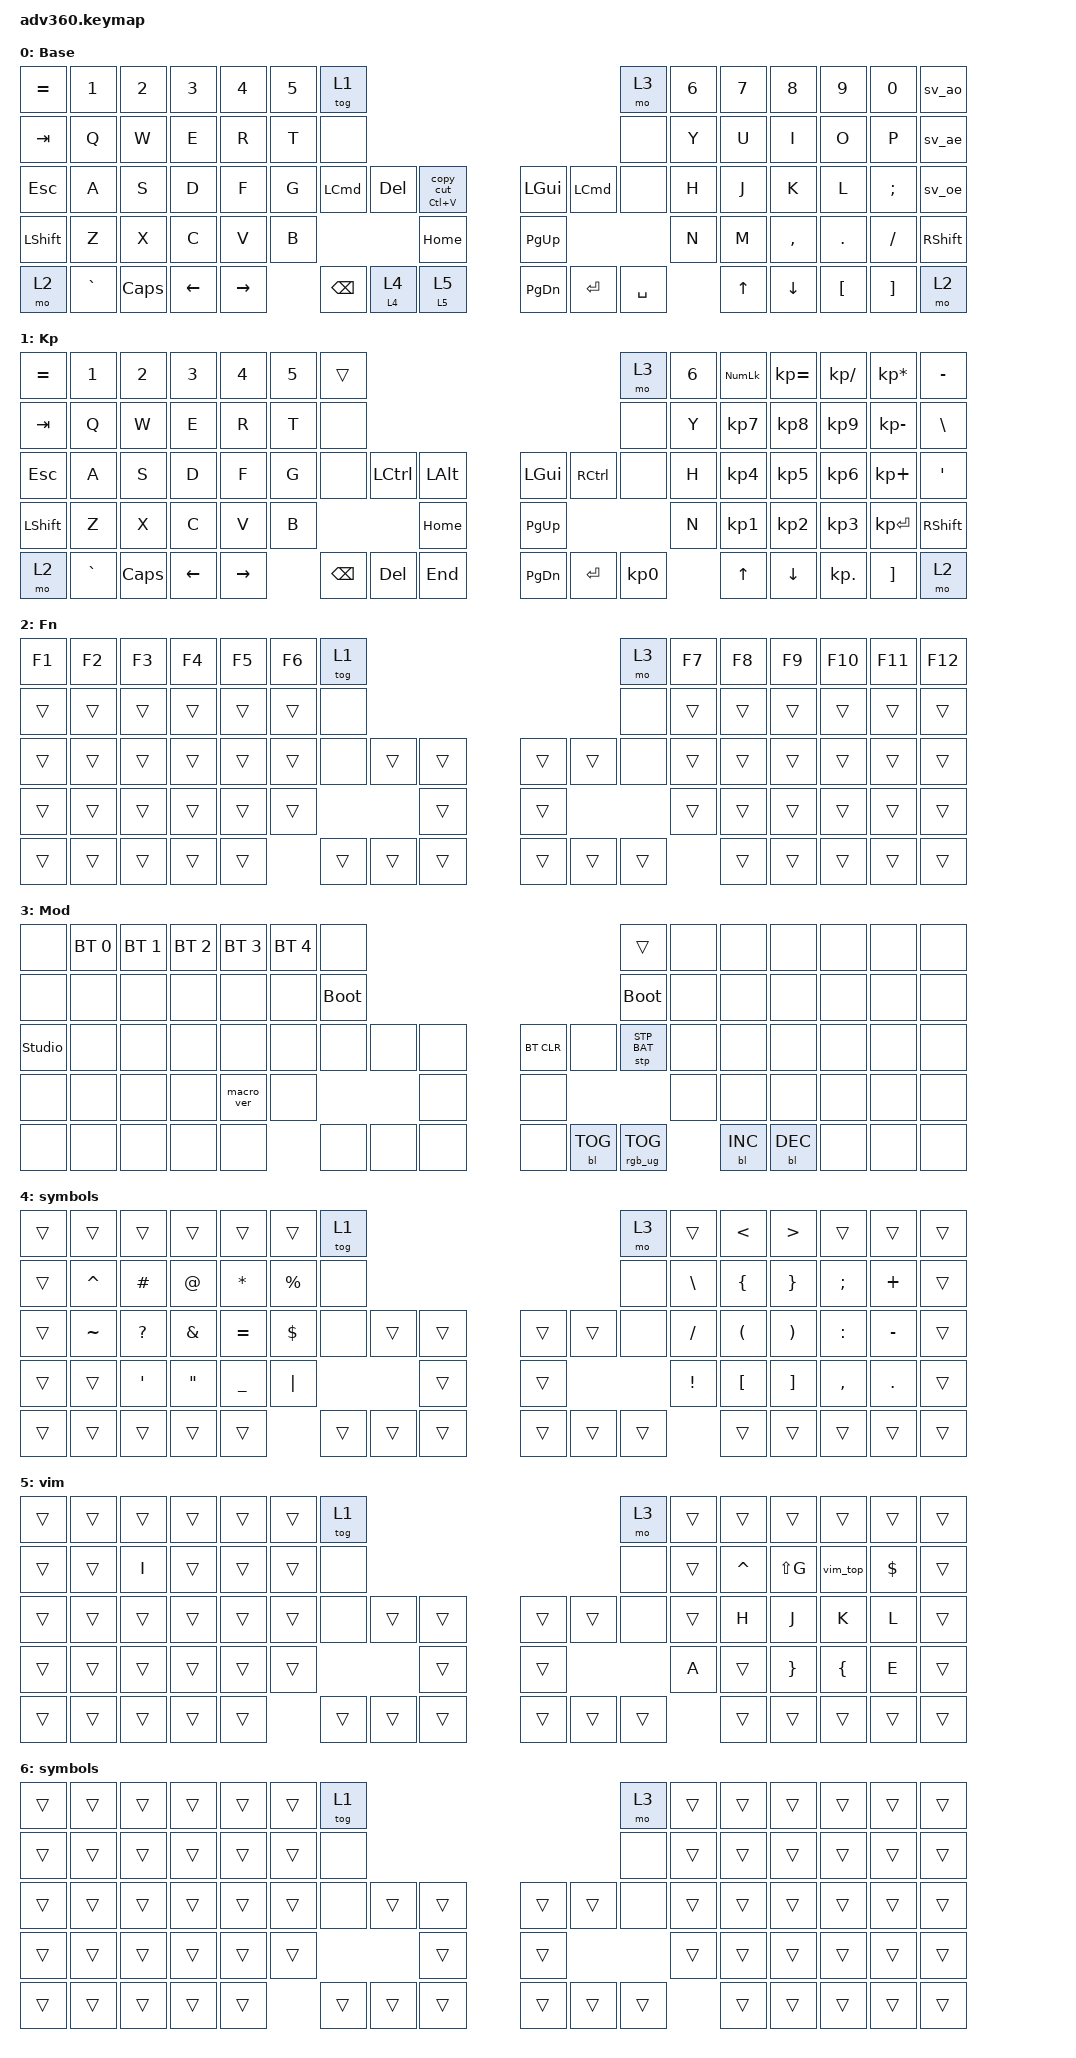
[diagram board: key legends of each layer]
#include <dt-bindings/zmk/stp.h>
#include <behaviors.dtsi>
#include <dt-bindings/zmk/backlight.h>
#include <dt-bindings/zmk/bt.h>
#include <dt-bindings/zmk/keys.h>
#include <dt-bindings/zmk/rgb.h>

/ {
    behaviors {
        #include "macros.dtsi"
      #include "version.dtsi"

        hm: homerow_mods {
            compatible = "zmk,behavior-hold-tap";
            label = "HOMEROW_MODS";
            #binding-cells = <2>;
            tapping-term-ms = <200>;
            quick_tap_ms = <175>;
            flavor = "tap-preferred";
            bindings = <&kp>, <&kp>;
        };

        copy_cut: copy_cut {
            compatible = "zmk,behavior-tap-dance";
            label = "COPY_CUT";
            #binding-cells = <0>;
            bindings = <&kp LC(C)>, <&kp LC(X)>;
        };

        super_copy: super_copy {
            compatible = "zmk,behavior-hold-tap";
            label = "SUPER_COPY";
            bindings = <&kp>, <&copy_cut>;

            #binding-cells = <2>;
            tapping-term-ms = <200>;
            flavor = "tap-preferred";
        };

        smart_layer: smart_layer {
            compatible = "zmk,behavior-hold-tap";
            label = "SMART_LAYER";
            bindings = <&mo>, <&tog>;

            #binding-cells = <2>;
            tapping-term-ms = <200>;
            flavor = "tap-preferred";
        };

        sv_ae: sv_ae {
            compatible = "zmk,behavior-mod-morph";
            #binding-cells = <0>;
            bindings = <&sv_ae_lower>, <&sv_ae_upper>;

            mods = <(MOD_LSFT|MOD_RSFT)>;
        };

        sv_ao: sv_ao {
            compatible = "zmk,behavior-mod-morph";
            #binding-cells = <0>;
            bindings = <&sv_ao_lower>, <&sv_ao_upper>;

            mods = <(MOD_LSFT|MOD_RSFT)>;
        };

        sv_oe: sv_oe {
            compatible = "zmk,behavior-mod-morph";
            #binding-cells = <0>;
            bindings = <&sv_oe_lower>, <&sv_oe_upper>;

            mods = <(MOD_LSFT|MOD_RSFT)>;
        };
    };

    macros {
        vim_top: vim_top {
            compatible = "zmk,behavior-macro";
            #binding-cells = <0>;
            bindings = <&kp G &kp G>;
            label = "VIM_TOP";
        };
    };

    keymap {
        compatible = "zmk,keymap";

        default_layer {
            display-name = "Base";
            bindings = <
&kp EQUAL  &kp N1     &kp N2    &kp N3    &kp N4     &kp N5  &tog 1                                                                                    &mo 3      &kp N6  &kp N7  &kp N8     &kp N9    &kp N0         &sv_ao
&kp TAB    &kp Q      &kp W     &kp E     &kp R      &kp T   &none                                                                                     &none      &kp Y   &kp U   &kp I      &kp O     &kp P          &sv_ae
&kp ESC    &kp A      &kp S     &kp D     &kp F      &kp G   &kp LEFT_COMMAND  &kp DELETE        &super_copy LC(V) 0      &kp LGUI   &kp LEFT_COMMAND  &none      &kp H   &kp J   &kp K      &kp L     &kp SEMICOLON  &sv_oe
&kp LSHFT  &kp Z      &kp X     &kp C     &kp V      &kp B                                       &kp HOME                 &kp PG_UP                               &kp N   &kp M   &kp COMMA  &kp DOT   &kp SLASH      &kp RIGHT_SHIFT
&mo 2      &kp GRAVE  &kp CAPS  &kp LEFT  &kp RIGHT          &kp BACKSPACE     &smart_layer 4 4  &smart_layer 5 5         &kp PG_DN  &kp RETURN        &kp SPACE          &kp UP  &kp DOWN   &kp LBKT  &kp RBKT       &mo 2
            >;
        };

        keypad {
            display-name = "Kp";
            bindings = <
&kp EQUAL  &kp N1     &kp N2    &kp N3    &kp N4     &kp N5  &trans                                                   &mo 3      &kp N6  &kp KP_NUM  &kp KP_EQUAL  &kp KP_DIVIDE  &kp KP_MULTIPLY  &kp MINUS
&kp TAB    &kp Q      &kp W     &kp E     &kp R      &kp T   &none                                                    &none      &kp Y   &kp KP_N7   &kp KP_N8     &kp KP_N9      &kp KP_MINUS     &kp BSLH
&kp ESC    &kp A      &kp S     &kp D     &kp F      &kp G   &none     &kp LCTRL  &kp LALT      &kp LGUI   &kp RCTRL  &none      &kp H   &kp KP_N4   &kp KP_N5     &kp KP_N6      &kp KP_PLUS      &kp SQT
&kp LSHFT  &kp Z      &kp X     &kp C     &kp V      &kp B                        &kp HOME      &kp PG_UP                        &kp N   &kp KP_N1   &kp KP_N2     &kp KP_N3      &kp KP_ENTER     &kp RSHFT
&mo 2      &kp GRAVE  &kp CAPS  &kp LEFT  &kp RIGHT          &kp BSPC  &kp DEL    &kp END       &kp PG_DN  &kp ENTER  &kp KP_N0          &kp UP      &kp DOWN      &kp KP_DOT     &kp RBKT         &mo 2
            >;
        };

        fn {
            display-name = "Fn";
            bindings = <
&kp F1  &kp F2  &kp F3  &kp F4  &kp F5  &kp F6  &tog 1                                      &mo 3   &kp F7  &kp F8  &kp F9  &kp F10  &kp F11  &kp F12
&trans  &trans  &trans  &trans  &trans  &trans  &none                                       &none   &trans  &trans  &trans  &trans   &trans   &trans
&trans  &trans  &trans  &trans  &trans  &trans  &none   &trans  &trans      &trans  &trans  &none   &trans  &trans  &trans  &trans   &trans   &trans
&trans  &trans  &trans  &trans  &trans  &trans                  &trans      &trans                  &trans  &trans  &trans  &trans   &trans   &trans
&trans  &trans  &trans  &trans  &trans          &trans  &trans  &trans      &trans  &trans  &trans          &trans  &trans  &trans   &trans   &trans
            >;
        };

        mod {
            display-name = "Mod";
            bindings = <
&none           &bt BT_SEL 0  &bt BT_SEL 1  &bt BT_SEL 2  &bt BT_SEL 3  &bt BT_SEL 4  &none                                                  &trans           &none  &none       &none       &none  &none  &none
&none           &none         &none         &none         &none         &none         &bootloader                                            &bootloader      &none  &none       &none       &none  &none  &none
&studio_unlock  &none         &none         &none         &none         &none         &none        &none  &none      &bt BT_CLR  &none       &stp STP_BAT     &none  &none       &none       &none  &none  &none
&none           &none         &none         &none         &macro_ver    &none                             &none      &none                                    &none  &none       &none       &none  &none  &none
&none           &none         &none         &none         &none                       &none        &none  &none      &none       &bl BL_TOG  &rgb_ug RGB_TOG         &bl BL_INC  &bl BL_DEC  &none  &none  &none
            >;
        };

        symbols {
            display-name = "symbols";
            bindings = <
&trans  &trans     &trans            &trans             &trans          &trans       &tog 1                                      &mo 3   &trans           &kp LESS_THAN         &kp GREATER_THAN       &trans         &trans     &trans
&trans  &kp CARET  &kp HASH          &kp AT_SIGN        &kp ASTERISK    &kp PERCENT  &none                                       &none   &kp BACKSLASH    &kp LEFT_BRACE        &kp RIGHT_BRACE        &kp SEMICOLON  &kp PLUS   &trans
&trans  &kp TILDE  &kp QUESTION      &kp AMPERSAND      &kp EQUAL       &kp DOLLAR   &none   &trans  &trans      &trans  &trans  &none   &kp SLASH        &kp LEFT_PARENTHESIS  &kp RIGHT_PARENTHESIS  &kp COLON      &kp MINUS  &trans
&trans  &trans     &kp SINGLE_QUOTE  &kp DOUBLE_QUOTES  &kp UNDERSCORE  &kp PIPE                     &trans      &trans                  &kp EXCLAMATION  &kp LEFT_BRACKET      &kp RIGHT_BRACKET      &kp COMMA      &kp DOT    &trans
&trans  &trans     &trans            &trans             &trans                       &trans  &trans  &trans      &trans  &trans  &trans                   &trans                &trans                 &trans         &trans     &trans
            >;
        };

        vim {
            display-name = "vim";
            bindings = <
&trans  &trans  &trans  &trans  &trans  &trans  &tog 1                                      &mo 3   &trans  &trans     &trans           &trans          &trans      &trans
&trans  &trans  &kp I   &trans  &trans  &trans  &none                                       &none   &trans  &kp CARET  &kp LS(G)        &vim_top        &kp DOLLAR  &trans
&trans  &trans  &trans  &trans  &trans  &trans  &none   &trans  &trans      &trans  &trans  &none   &trans  &kp H      &kp J            &kp K           &kp L       &trans
&trans  &trans  &trans  &trans  &trans  &trans                  &trans      &trans                  &kp A   &trans     &kp RIGHT_BRACE  &kp LEFT_BRACE  &kp E       &trans
&trans  &trans  &trans  &trans  &trans          &trans  &trans  &trans      &trans  &trans  &trans          &trans     &trans           &trans          &trans      &trans
            >;
        };

        extra1 {
            display-name = "Red";
            status = "reserved";
        };

        extra2 {
            display-name = "Purple";
            status = "reserved";
        };

        extra3 {
            display-name = "Cyan";
            status = "reserved";
        };

        extra4 {
            display-name = "Yellow";
            status = "reserved";
        };

        layer_9 {
            display-name = "symbols";
            bindings = <
&trans  &trans  &trans  &trans  &trans  &trans  &tog 1                                      &mo 3   &trans  &trans  &trans  &trans  &trans  &trans
&trans  &trans  &trans  &trans  &trans  &trans  &none                                       &none   &trans  &trans  &trans  &trans  &trans  &trans
&trans  &trans  &trans  &trans  &trans  &trans  &none   &trans  &trans      &trans  &trans  &none   &trans  &trans  &trans  &trans  &trans  &trans
&trans  &trans  &trans  &trans  &trans  &trans                  &trans      &trans                  &trans  &trans  &trans  &trans  &trans  &trans
&trans  &trans  &trans  &trans  &trans          &trans  &trans  &trans      &trans  &trans  &trans          &trans  &trans  &trans  &trans  &trans
            >;
        };
    };
};
